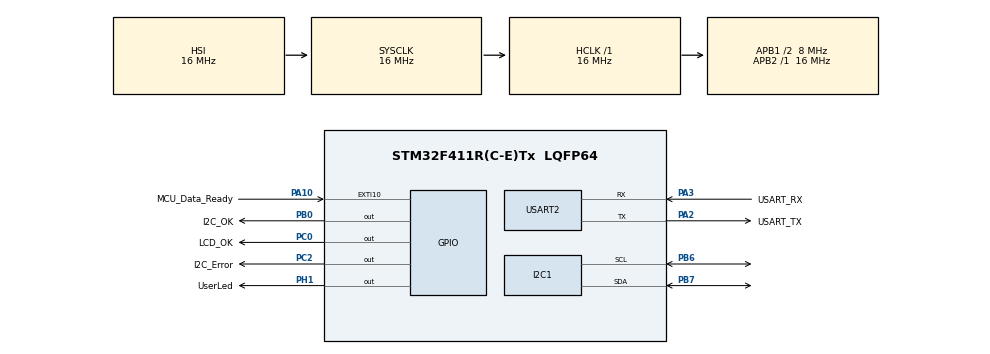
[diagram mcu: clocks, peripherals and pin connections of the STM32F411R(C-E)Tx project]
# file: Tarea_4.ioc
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Dma.Request0=USART2_RX
Dma.Request1=USART2_TX
Dma.USART2_RX.0.Direction=DMA_PERIPH_TO_MEMORY
Dma.USART2_RX.0.FIFOMode=DMA_FIFOMODE_DISABLE
Dma.USART2_RX.0.Instance=DMA1_Stream5
Dma.USART2_RX.0.MemDataAlignment=DMA_MDATAALIGN_BYTE
Dma.USART2_RX.0.MemInc=DMA_MINC_ENABLE
Dma.USART2_RX.0.Mode=DMA_NORMAL
Dma.USART2_RX.0.PeriphDataAlignment=DMA_PDATAALIGN_BYTE
Dma.USART2_RX.0.PeriphInc=DMA_PINC_DISABLE
Dma.USART2_RX.0.Priority=DMA_PRIORITY_LOW
Dma.USART2_TX.1.Direction=DMA_MEMORY_TO_PERIPH
Dma.USART2_TX.1.FIFOMode=DMA_FIFOMODE_DISABLE
Dma.USART2_TX.1.Instance=DMA1_Stream6
Dma.USART2_TX.1.MemDataAlignment=DMA_MDATAALIGN_BYTE
Dma.USART2_TX.1.MemInc=DMA_MINC_ENABLE
Dma.USART2_TX.1.Mode=DMA_NORMAL
Dma.USART2_TX.1.PeriphDataAlignment=DMA_PDATAALIGN_BYTE
Dma.USART2_TX.1.PeriphInc=DMA_PINC_DISABLE
Dma.USART2_TX.1.Priority=DMA_PRIORITY_LOW
Mcu.Family=STM32F4
Mcu.Name=STM32F411R(C-E)Tx
Mcu.Package=LQFP64
NVIC.DMA1_Stream5_IRQn=true\:0\:0\:false\:false\:true\:false\:true\:true
NVIC.DMA1_Stream6_IRQn=true\:0\:0\:false\:false\:true\:false\:true\:true
NVIC.EXTI15_10_IRQn=true\:0\:0\:false\:false\:true\:true\:true\:true
NVIC.PriorityGroup=NVIC_PRIORITYGROUP_0
NVIC.TIM2_IRQn=true\:0\:0\:false\:false\:true\:true\:true\:true
NVIC.TIM3_IRQn=true\:0\:0\:false\:false\:true\:true\:true\:true
NVIC.USART2_IRQn=true\:0\:0\:false\:false\:true\:true\:true\:true
PA10.GPIO_Label=MCU_Data_Ready
PA10.Signal=GPXTI10
PA13.GPIO_Label=TMS
PA13.Mode=Serial_Wire
PA13.Signal=SYS_JTMS-SWDIO
PA14.GPIO_Label=TCK
PA14.Mode=Serial_Wire
PA14.Signal=SYS_JTCK-SWCLK
PA2.GPIO_Label=USART_TX
PA2.Mode=Asynchronous
PA2.Signal=USART2_TX
PA3.GPIO_Label=USART_RX
PA3.Mode=Asynchronous
PA3.Signal=USART2_RX
PB0.GPIO_Label=I2C_OK
PB0.Signal=GPIO_Output
PB3.GPIO_Label=SWO
PB3.Signal=SYS_JTDO-SWO
PB6.Mode=I2C
PB6.Signal=I2C1_SCL
PB7.Mode=I2C
PB7.Signal=I2C1_SDA
PC0.GPIO_Label=LCD_OK
PC0.Signal=GPIO_Output
PC2.GPIO_Label=I2C_Error
PC2.Signal=GPIO_Output
PH1\ -\ OSC_OUT.GPIO_Label=UserLed
PH1\ -\ OSC_OUT.Signal=GPIO_Output
ProjectManager.HeapSize=0x200
ProjectManager.StackSize=0x400
ProjectManager.TargetToolchain=STM32CubeIDE
RCC.48MHZClocksFreq_Value=84000000
RCC.AHBFreq_Value=16000000
RCC.APB1CLKDivider=RCC_HCLK_DIV2
RCC.APB1Freq_Value=8000000
RCC.APB1TimFreq_Value=16000000
RCC.APB2Freq_Value=16000000
RCC.APB2TimFreq_Value=16000000
RCC.CortexFreq_Value=16000000
RCC.FLatency-AdvancedSettings=FLASH_LATENCY_0
RCC.HCLKFreq_Value=16000000
RCC.HSE_VALUE=8000000
RCC.HSI_VALUE=16000000
RCC.LSE_VALUE=32768
RCC.PLLN=336
RCC.PLLP=RCC_PLLP_DIV4
RCC.SYSCLKFreq_VALUE=16000000
RCC.VCOOutputFreq_Value=336000000
TIM2.Period=250-1
TIM2.Prescaler=16000-1
TIM3.Period=1000-1
TIM3.Prescaler=16000-1
USART2.VirtualMode=VM_ASYNC
VP_TIM2_VS_ClockSourceINT.Mode=Internal
VP_TIM3_VS_ClockSourceINT.Mode=Internal
board=NUCLEO-F411RE

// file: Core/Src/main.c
/* USER CODE BEGIN Header */
/**
  ******************************************************************************
  * @file           : main.c
  * @brief          : Main Tarea_4 Taller V, 2025-1
  * @author		 	: Jose Andrés Díaz Gutiérrez
  ******************************************************************************
  * @attention
  *
  * Copyright (c) 2025 STMicroelectronics.
  * All rights reserved.
  *
  *
  ******************************************************************************
  */
/* USER CODE END Header */
#include "main.h"

/* USER CODE BEGIN Includes */
#include "stdint.h"
#include "string.h"
#include "stdio.h"
#include <stdlib.h>
#define ARM_MATH_CM4	//Definimos esto porque estamos usando el núcleo ARM-Cortex M4
#include "arm_math.h"
#include "stm32f4xx_hal.h"
#include "arm_const_structs.h"
#include "arm_common_tables.h"
#include "i2c-lcd.h"
/* USER CODE END Includes */

I2C_HandleTypeDef hi2c1;

TIM_HandleTypeDef htim2;
TIM_HandleTypeDef htim3;

UART_HandleTypeDef huart2;
DMA_HandleTypeDef hdma_usart2_rx;
DMA_HandleTypeDef hdma_usart2_tx;

/* USER CODE BEGIN PV */
State_t Current_State = STATE_IDLE; 	// Se fija el estado por defecto

//Variables auxiliares para la comunciación USART
uint16_t rx_buffer_length = 64;
uint8_t rx_Buffer_A[RX_BUFFER_MAX_LENGTH]; // Buffer de recepción A
uint8_t rx_Buffer_B[RX_BUFFER_MAX_LENGTH]; // Buffer de recepción B
char 	tx_buffer[100];

volatile Paquete_Datos paquete_listo = {.buffer = NULL, .size = 0};
volatile BufferActivo buffer_activo_DMA = BUFFER_A;
uint8_t*  rx_buffer;
uint16_t  rx_size;

//Variables y Buffers para la FFT
float32_t 	Buffer_Datos_Float 		[ADC_BUFFER_MAX_LENGTH]; // Array para almacenar los valores del ADC hechos float
uint16_t index_Datos = 0;
float32_t FFT_Buffer			[ADC_BUFFER_MAX_LENGTH]; 	//Buffer para el output de la FFT
float32_t FFT_Magnitudes 		[ADC_BUFFER_MAX_LENGTH/2];	//Buffer para las magnitudes de la FFT
arm_rfft_fast_instance_f32 rfft_instance; 						//Se crea una instancia que es requerida por la función RFFT
uint16_t fft_Length = ADC_BUFFER_MAX_LENGTH;					//Tamaño de la FFT que se va a realizar, 2048 por defecto
uint16_t longitud_Buffer_Datos = ADC_BUFFER_MAX_LENGTH;
float32_t frecuencia_dominante = 0;
char *argumento_comandos;

//Variables para el acelerómetro
float32_t ACCEL_X, ACCEL_Y, ACCEL_Z; // Variables para almacenar los valores del acelerómetro
float32_t GYRO_X, GYRO_Y, GYRO_Z; // Variables para almacenar los valores del giroscopio
int16_t ACCEL_X_RAW, ACCEL_Y_RAW, ACCEL_Z_RAW; // Variables para almacenar los valores del acelerómetro _RAW
int16_t GYRO_X_RAW, GYRO_Y_RAW, GYRO_Z_RAW; // Variables para almacenar los valores del giroscopio _RAW
uint16_t refresh_lcd = 0;	//Variable auxiliar para refrescar la pantalla del LCD
uint16_t refresh_fft = 0;

//Le asignamos a una variable el mensaje de help, tipo static porque pues, no lo vamos a modificar nunca
static const char help_msg[] =
    "Opciones:\r\n"
    "1.  Configurar periodo del Blinky:              Config_Blinky_Period <Period (ms)>\r\n"
    "2.  Configurar tamaño de la FFT:                Config_FFT_Size\r\n"
    "3.  Imprimir espectro FFT:                      Print_FFT\r\n"
    "4.  Imprimir configuración del equipo:          Print_Config\r\n"
    "5. Imprimir valores clave de la FFT:           Print_FFT_Features\r\n";

/* USER CODE END PV */

void SystemClock_Config(void);
static void MX_GPIO_Init(void);
static void MX_DMA_Init(void);
static void MX_USART2_UART_Init(void);
static void MX_I2C1_Init(void);
static void MX_TIM2_Init(void);
static void MX_TIM3_Init(void);
/* USER CODE BEGIN PFP */
void printhelp(void);
void FSM_update(State_t State);
void MPU6050_Init(void);
/* USER CODE END PFP */

int main(void)
{

  /* MCU Configuration--------------------------------------------------------*/

  /* Reset of all peripherals, Initializes the Flash interface and the Systick. */
  HAL_Init();

  /* Configure the system clock */
  SystemClock_Config();

  /* Initialize all configured peripherals */
  MX_GPIO_Init();
  MX_DMA_Init();
  MX_USART2_UART_Init();
  MX_I2C1_Init();
  MX_TIM2_Init();
  MX_TIM3_Init();
  /* USER CODE BEGIN 2 */
  HAL_TIM_Base_Start_IT(&htim2); 	// Inicia el Timer 2 para interrupciones

  HAL_UARTEx_ReceiveToIdle_DMA(&huart2, rx_Buffer_A, rx_buffer_length); // Configura la recepción DMA con IDLE

  printhelp();	//Imprimimos la ayuda

  arm_rfft_fast_init_f32(&rfft_instance, fft_Length);	//Iniciamos la instancia al incio para no llamarla cada printFFT, Lo haremos con 2048 por defecto

  MPU6050_Init(); //Inicializamos el MPU6050

  lcd_init(); // Se inicializa la pantalla
  lcd_send_string ("Inicializando"); //Mandamos un mensaje a la pantalla

  HAL_Delay(1000);	//Esperamos 1 segundo
  lcd_clear();		//Limpiamos lo que haya en la pantalla

  lcd_send_cmd(0x80|0x5A);
  lcd_send_string("MPU6050");

  HAL_TIM_Base_Start_IT(&htim3); 	// Inicia el Timer 3 para interrupciones

  lcd_send_cmd(0x80 | (0x54 + 18));  // 0x80 | 0x66 = 0xE6
  lcd_send_string("Hz");
  /* USER CODE END 2 */

  /* Infinite loop */
  while (1){

    /* USER CODE BEGIN 3 */
	  FSM_update(Current_State); // Llama a la función de actualización del FSM

  }
  /* USER CODE END 3 */
}

void SystemClock_Config(void)
{
  RCC_OscInitTypeDef RCC_OscInitStruct = {0};
  RCC_ClkInitTypeDef RCC_ClkInitStruct = {0};

  /** Configure the main internal regulator output voltage
  */
  __HAL_RCC_PWR_CLK_ENABLE();
  __HAL_PWR_VOLTAGESCALING_CONFIG(PWR_REGULATOR_VOLTAGE_SCALE1);

  /** Initializes the RCC Oscillators according to the specified parameters
  * in the RCC_OscInitTypeDef structure.
  */
  RCC_OscInitStruct.OscillatorType = RCC_OSCILLATORTYPE_HSI;
  RCC_OscInitStruct.HSIState = RCC_HSI_ON;
  RCC_OscInitStruct.HSICalibrationValue = RCC_HSICALIBRATION_DEFAULT;
  RCC_OscInitStruct.PLL.PLLState = RCC_PLL_NONE;
  if (HAL_RCC_OscConfig(&RCC_OscInitStruct) != HAL_OK)
  {
    Error_Handler();
  }

  /** Initializes the CPU, AHB and APB buses clocks
  */
  RCC_ClkInitStruct.ClockType = RCC_CLOCKTYPE_HCLK|RCC_CLOCKTYPE_SYSCLK
                              |RCC_CLOCKTYPE_PCLK1|RCC_CLOCKTYPE_PCLK2;
  RCC_ClkInitStruct.SYSCLKSource = RCC_SYSCLKSOURCE_HSI;
  RCC_ClkInitStruct.AHBCLKDivider = RCC_SYSCLK_DIV1;
  RCC_ClkInitStruct.APB1CLKDivider = RCC_HCLK_DIV2;
  RCC_ClkInitStruct.APB2CLKDivider = RCC_HCLK_DIV1;

  if (HAL_RCC_ClockConfig(&RCC_ClkInitStruct, FLASH_LATENCY_0) != HAL_OK)
  {
    Error_Handler();
  }
}

static void MX_I2C1_Init(void)
{

  hi2c1.Instance = I2C1;
  hi2c1.Init.ClockSpeed = 100000;
  hi2c1.Init.DutyCycle = I2C_DUTYCYCLE_2;
  hi2c1.Init.OwnAddress1 = 0;
  hi2c1.Init.AddressingMode = I2C_ADDRESSINGMODE_7BIT;
  hi2c1.Init.DualAddressMode = I2C_DUALADDRESS_DISABLE;
  hi2c1.Init.OwnAddress2 = 0;
  hi2c1.Init.GeneralCallMode = I2C_GENERALCALL_DISABLE;
  hi2c1.Init.NoStretchMode = I2C_NOSTRETCH_DISABLE;
  if (HAL_I2C_Init(&hi2c1) != HAL_OK)
  {
    Error_Handler();
  }

}

static void MX_TIM2_Init(void)
{

  TIM_ClockConfigTypeDef sClockSourceConfig = {0};
  TIM_MasterConfigTypeDef sMasterConfig = {0};

  htim2.Instance = TIM2;
  htim2.Init.Prescaler = 16000-1;
  htim2.Init.CounterMode = TIM_COUNTERMODE_UP;
  htim2.Init.Period = 250-1;
  htim2.Init.ClockDivision = TIM_CLOCKDIVISION_DIV1;
  htim2.Init.AutoReloadPreload = TIM_AUTORELOAD_PRELOAD_DISABLE;
  if (HAL_TIM_Base_Init(&htim2) != HAL_OK)
  {
    Error_Handler();
  }
  sClockSourceConfig.ClockSource = TIM_CLOCKSOURCE_INTERNAL;
  if (HAL_TIM_ConfigClockSource(&htim2, &sClockSourceConfig) != HAL_OK)
  {
    Error_Handler();
  }
  sMasterConfig.MasterOutputTrigger = TIM_TRGO_RESET;
  sMasterConfig.MasterSlaveMode = TIM_MASTERSLAVEMODE_DISABLE;
  if (HAL_TIMEx_MasterConfigSynchronization(&htim2, &sMasterConfig) != HAL_OK)
  {
    Error_Handler();
  }

}

static void MX_TIM3_Init(void)
{

  TIM_ClockConfigTypeDef sClockSourceConfig = {0};
  TIM_MasterConfigTypeDef sMasterConfig = {0};

  htim3.Instance = TIM3;
  htim3.Init.Prescaler = 16000-1;
  htim3.Init.CounterMode = TIM_COUNTERMODE_UP;
  htim3.Init.Period = 1000-1;
  htim3.Init.ClockDivision = TIM_CLOCKDIVISION_DIV1;
  htim3.Init.AutoReloadPreload = TIM_AUTORELOAD_PRELOAD_DISABLE;
  if (HAL_TIM_Base_Init(&htim3) != HAL_OK)
  {
    Error_Handler();
  }
  sClockSourceConfig.ClockSource = TIM_CLOCKSOURCE_INTERNAL;
  if (HAL_TIM_ConfigClockSource(&htim3, &sClockSourceConfig) != HAL_OK)
  {
    Error_Handler();
  }
  sMasterConfig.MasterOutputTrigger = TIM_TRGO_RESET;
  sMasterConfig.MasterSlaveMode = TIM_MASTERSLAVEMODE_DISABLE;
  if (HAL_TIMEx_MasterConfigSynchronization(&htim3, &sMasterConfig) != HAL_OK)
  {
    Error_Handler();
  }

}

static void MX_USART2_UART_Init(void)
{

  huart2.Instance = USART2;
  huart2.Init.BaudRate = 115200;
  huart2.Init.WordLength = UART_WORDLENGTH_8B;
  huart2.Init.StopBits = UART_STOPBITS_1;
  huart2.Init.Parity = UART_PARITY_NONE;
  huart2.Init.Mode = UART_MODE_TX_RX;
  huart2.Init.HwFlowCtl = UART_HWCONTROL_NONE;
  huart2.Init.OverSampling = UART_OVERSAMPLING_16;
  if (HAL_UART_Init(&huart2) != HAL_OK)
  {
    Error_Handler();
  }

}

static void MX_DMA_Init(void)
{

  /* DMA controller clock enable */
  __HAL_RCC_DMA1_CLK_ENABLE();

  /* DMA interrupt init */
  /* DMA1_Stream5_IRQn interrupt configuration */
  HAL_NVIC_SetPriority(DMA1_Stream5_IRQn, 0, 0);
  HAL_NVIC_EnableIRQ(DMA1_Stream5_IRQn);
  /* DMA1_Stream6_IRQn interrupt configuration */
  HAL_NVIC_SetPriority(DMA1_Stream6_IRQn, 0, 0);
  HAL_NVIC_EnableIRQ(DMA1_Stream6_IRQn);

}

static void MX_GPIO_Init(void)
{
  GPIO_InitTypeDef GPIO_InitStruct = {0};

  /* GPIO Ports Clock Enable */
  __HAL_RCC_GPIOH_CLK_ENABLE();
  __HAL_RCC_GPIOC_CLK_ENABLE();
  __HAL_RCC_GPIOA_CLK_ENABLE();
  __HAL_RCC_GPIOB_CLK_ENABLE();

  /*Configure GPIO pin Output Level */
  HAL_GPIO_WritePin(UserLed_GPIO_Port, UserLed_Pin, GPIO_PIN_RESET);

  /*Configure GPIO pin Output Level */
  HAL_GPIO_WritePin(GPIOC, LCD_OK_Pin|I2C_Error_Pin, GPIO_PIN_RESET);

  /*Configure GPIO pin Output Level */
  HAL_GPIO_WritePin(I2C_OK_GPIO_Port, I2C_OK_Pin, GPIO_PIN_RESET);

  /*Configure GPIO pin : UserLed_Pin */
  GPIO_InitStruct.Pin = UserLed_Pin;
  GPIO_InitStruct.Mode = GPIO_MODE_OUTPUT_PP;
  GPIO_InitStruct.Pull = GPIO_NOPULL;
  GPIO_InitStruct.Speed = GPIO_SPEED_FREQ_LOW;
  HAL_GPIO_Init(UserLed_GPIO_Port, &GPIO_InitStruct);

  /*Configure GPIO pins : LCD_OK_Pin I2C_Error_Pin */
  GPIO_InitStruct.Pin = LCD_OK_Pin|I2C_Error_Pin;
  GPIO_InitStruct.Mode = GPIO_MODE_OUTPUT_PP;
  GPIO_InitStruct.Pull = GPIO_NOPULL;
  GPIO_InitStruct.Speed = GPIO_SPEED_FREQ_LOW;
  HAL_GPIO_Init(GPIOC, &GPIO_InitStruct);

  /*Configure GPIO pin : I2C_OK_Pin */
  GPIO_InitStruct.Pin = I2C_OK_Pin;
  GPIO_InitStruct.Mode = GPIO_MODE_OUTPUT_PP;
  GPIO_InitStruct.Pull = GPIO_NOPULL;
  GPIO_InitStruct.Speed = GPIO_SPEED_FREQ_LOW;
  HAL_GPIO_Init(I2C_OK_GPIO_Port, &GPIO_InitStruct);

  /*Configure GPIO pin : MCU_Data_Ready_Pin */
  GPIO_InitStruct.Pin = MCU_Data_Ready_Pin;
  GPIO_InitStruct.Mode = GPIO_MODE_IT_RISING;
  GPIO_InitStruct.Pull = GPIO_NOPULL;
  HAL_GPIO_Init(MCU_Data_Ready_GPIO_Port, &GPIO_InitStruct);

  /* EXTI interrupt init*/
  HAL_NVIC_SetPriority(EXTI15_10_IRQn, 0, 0);
  HAL_NVIC_EnableIRQ(EXTI15_10_IRQn);

  /* USER CODE BEGIN MX_GPIO_Init_2 */
  // Para EXTI0 (PC0)
  HAL_NVIC_SetPriority(EXTI0_IRQn, 0, 0);
  HAL_NVIC_EnableIRQ(EXTI0_IRQn);

  // Para EXTI1 (PC1)
  HAL_NVIC_SetPriority(EXTI1_IRQn, 0, 0);
  HAL_NVIC_EnableIRQ(EXTI1_IRQn);

  // Para EXTI4 (PA4)
  HAL_NVIC_SetPriority(EXTI4_IRQn, 0, 0);
  HAL_NVIC_EnableIRQ(EXTI4_IRQn);

  // Para EXTI15_10 (PB15)
  HAL_NVIC_SetPriority(EXTI15_10_IRQn, 0, 0);
  HAL_NVIC_EnableIRQ(EXTI15_10_IRQn);
  /* USER CODE END MX_GPIO_Init_2 */
}

/* USER CODE BEGIN 4 */
void  I2C_verify(void){
	uint8_t check;
	HAL_I2C_Mem_Read(&hi2c1, MPU6050_ADDR, MCU_WHO_AM_I_REG, 1, &check, 1, 1000);
	if ((HAL_I2C_IsDeviceReady(&hi2c1, LCD_ADDR, 3, 1000) == HAL_OK) && (check == 0x68)) {
	    //La pantalla y el MPU están respondiendo
		HAL_GPIO_WritePin(I2C_OK_GPIO_Port, I2C_OK_Pin, GPIO_PIN_SET);
		HAL_GPIO_WritePin(LCD_OK_GPIO_Port, LCD_OK_Pin, GPIO_PIN_SET);
	} else {
		HAL_GPIO_WritePin(I2C_OK_GPIO_Port, I2C_OK_Pin, GPIO_PIN_RESET);
		HAL_GPIO_WritePin(LCD_OK_GPIO_Port, LCD_OK_Pin, GPIO_PIN_RESET);
		HAL_GPIO_WritePin(I2C_Error_GPIO_Port, I2C_Error_Pin, GPIO_PIN_SET);

	}
}

void MPU6050_Init(void){
	uint8_t check, data; //Variables auxiliares para la comunicación I2C
	//Primero verificamos que el MPU6050 esté conectado, leyendo el registro WHO_AM_I (0x75), el sensor debería retornar 0x68, su ADDRESS con AD0 = 0
	HAL_I2C_Mem_Read(&hi2c1, MPU6050_ADDR, MCU_WHO_AM_I_REG, 1, &check, 1, 1000);

	if(check != 0x68){
		//El sensor no está conectado correctamente
		const char *msg = "MPU6050 desconectado. Conéctelo correctamente y escriba: Start_DMU.\n";
		HAL_UART_Transmit_DMA(&huart2, (uint8_t *)msg, strlen(msg));
		HAL_GPIO_WritePin(I2C_Error_GPIO_Port, I2C_Error_Pin, GPIO_PIN_SET);
		return; //No se puede continuar
	}
	HAL_GPIO_WritePin(I2C_OK_GPIO_Port, I2C_OK_Pin, GPIO_PIN_SET);
	//Si está conectado, procedemos a configurarlo, escribiendno en el registro PWR_MGMT_1 (0x6B) un 0x00, para que el sensor esté activo
	/*	Bit 7: Device_Reset 	= 0, No queremos reiniciar el dispositivo
	 *  Bit 6: Sleep 			= 0, No queremos que el dispositivo esté en modo de sueño
	 *  Bit 5: Cycle 			= 0, No queremos que el dispositivo esté en modo de ciclo
	 *  Bit 4: Reserved 		= 0, Reservado
	 *  Bit 3: Temp_Disable 	= 1, No necesitamos que el sensor mida la temperatura
	 *  Bit 2-0: Clock_Select 	= 000, Seleccionamos el reloj interno del sensor
	 *  Escribimos entonces  0b00001000 = 0x08
	 */
	data = 0x08; //Valor a escribir en el registro PWR_MGMT_1
	HAL_I2C_Mem_Write(&hi2c1, MPU6050_ADDR, PWR_MGMT_1_REG, 1, &data, 1, 1000);
	/*
	 * Ahora debemos configurar el sample rate del sensor, fijándonos en el registro SMPLRT_DIV 0x19 y en el Configuration 0x1A
	 * Por defecto, configuration = 0x00, lo que significa que el sensor tiene un gyroscope output rate de 8kHz
	 * Luego, en en SMPLRT_Div, escribimos un valor de 0x07, para configurar el sample rate a 1kHz
	 * Sample Rate = Gyroscope Output Rate / (1 + SMPLRT_DIV)
	 */
	data = 0x08; //Valor para escribir en SMPLRT_DIV
	HAL_I2C_Mem_Write(&hi2c1, MPU6050_ADDR, SMPLRT_DIV_REG, 1, &data, 1, 1000);
	/*
	 * Procedemos a configurar la escala del giroscopio y acelerómetro a un rango de 2000°/s 0x18
	 * Y un rango en la aceleración de +- 2g: 0x18
	 * Omitimos los self tests, pues no los vamos a usar
	 */
	data = 0x00; //Valor para escribir en el registro GYRO_CONFIG (0x1B) y ACCEL_CONFIG_REG (0x1C)
	HAL_I2C_Mem_Write(&hi2c1, MPU6050_ADDR, GYRO_CONFIG_REG, 1, &data, 1, 1000);
	HAL_I2C_Mem_Write(&hi2c1, MPU6050_ADDR, ACCEL_CONFIG_REG, 1, &data, 1, 1000);

	data = 0x01; //Valor a escribir en el INT_ENABLE para activar una interrupción en el MPU cada que hayan datos listos para leer
	HAL_I2C_Mem_Write(&hi2c1, MPU6050_ADDR, MCU_INT_ENABLE, 1, &data, 1, 1000);

}

void MPU6050_Read_Accel(void){
	/*
	 * La configuración que tenemos es de +- 16g
	 * Por lo tanto, LSB sensitivity es de 2048 LSB/g
	 */
	uint8_t data_Recolectada[6];

	// Leemos los 6 bytes de data empezando desde el registro ACCEL_XOUT_H (0x3B)

	HAL_I2C_Mem_Read(&hi2c1, MPU6050_ADDR, ACCEL_XOUT_H_REG, 1, data_Recolectada, 6, 1000);

	ACCEL_X_RAW = (int16_t)(data_Recolectada[0] << 8 | data_Recolectada[1]); // Combinamos los dos bytes de datos para el eje X
	ACCEL_Y_RAW = (int16_t)(data_Recolectada[2] << 8 | data_Recolectada[3]); // Combinamos los dos bytes de datos para el eje Y
	ACCEL_Z_RAW = (int16_t)(data_Recolectada[4] << 8 | data_Recolectada[5]); // Combinamos los dos bytes de datos para el eje Z

	ACCEL_X = (float )ACCEL_X_RAW / 16384; // Convertimos a g
	ACCEL_Y = (float )ACCEL_Y_RAW / 16384; // Convertimos a g
	ACCEL_Z = (float )ACCEL_Z_RAW / 16384; // Convertimos a g
}

void MPU6050_Read_Gyro(void){
	/*
	 * La configuración que tenemos es de 2000°/s
	 * Por lo tanto, LSB sensitivity es de 16.4 LSB/s
	 */
	uint8_t data_Recolectada[6];

	// Leemos los 6 bytes de data empezando desde el registro GYRO_XOUT_H (0x43)

	HAL_I2C_Mem_Read(&hi2c1, MPU6050_ADDR, GYRO_XOUT_H_REG, 1, data_Recolectada, 6, 1000);

	GYRO_X_RAW = (int16_t)(data_Recolectada[0] << 8 | data_Recolectada[1]); // Combinamos los dos bytes de datos para el eje X
	GYRO_Y_RAW = (int16_t)(data_Recolectada[2] << 8 | data_Recolectada[3]); // Combinamos los dos bytes de datos para el eje Y
	GYRO_Z_RAW = (int16_t)(data_Recolectada[4] << 8 | data_Recolectada[5]); // Combinamos los dos bytes de datos para el eje Z

	GYRO_X = (float )GYRO_X_RAW / 131; // Convertimos a °/s
	GYRO_Y = (float )GYRO_Y_RAW / 131; // Convertimos a °/s
	GYRO_Z = (float )GYRO_Z_RAW / 131; // Convertimos a °/s
}

void printhelp(void){
	//Esta función imprime el menú de opciones en el terminal
	HAL_UART_Transmit_DMA(&huart2, (uint8_t *)help_msg,strlen(help_msg));
	Current_State = STATE_IDLE; //Se vuelve al estado de REFRESCO
}

void config_blinky(const char *argumento){
	//Esta función configura el periodo del blinky
	uint32_t nuevo_periodo = atoi(argumento);			//Convierte el argumento a un entero
	if(nuevo_periodo > 0 && nuevo_periodo <= 65536){ 	//Verifica que el periodo esté en el rango permitido
		HAL_TIM_Base_Stop_IT(&htim2); 						//Detiene el timer para poder configurarlo
		htim2.Init.Period = nuevo_periodo - 1; 			//Actualiza el periodo del timer
		HAL_TIM_Base_Init(&htim2); 						//Se carga la configuración del timer con el nuevo periodo
		HAL_TIM_Base_Start_IT(&htim2); 					//Inicia el timer con interrupciones
		const char *msg = "Periodo del blinky configurado correctamente.\n";
		HAL_UART_Transmit_DMA(&huart2, (uint8_t *)msg, strlen(msg));
	}else{
		const char *error_msg = "Periodo inválido. Debe estar entre 1 y 65536 ms.\n";
		HAL_UART_Transmit_DMA(&huart2, (uint8_t *)error_msg, strlen(error_msg));
	}
	Current_State = STATE_IDLE; //Se vuelve al estado de REFRESCO
}

void print_config(void){
	/*
	 * Esta función imprime la configuración del equipo
	 */

	char config[512];
	sprintf(config,
	    "Tamano FFT:            %u   index\n"
	    "TIM2 Prescaler:        %u   \n"
	    "TIM2 Period:           %u   \n",
		(uint16_t) longitud_Buffer_Datos, // uint16_t
	    (uint16_t)TIM2->PSC,   // uint32_t
	    (uint16_t)TIM2->ARR   // uint32_t
	);
	HAL_UART_Transmit_DMA(&huart2, (uint8_t *)config,strlen(config));
	Current_State = STATE_IDLE;
}

void convertir_uint16_to_float32(uint16_t* pOrigen, float32_t* pDestino, uint32_t buffer_length){
	const float32_t conversion_factor = 1.0f / (float32_t)ADC_MAX_VALUE;

    for (uint32_t i = 0; i < buffer_length; i++) {
        // Normalizamos a los valores [0.0, 1.0] y convertimos a float cada uno de los valores
    	pDestino[i] = ((float32_t)pOrigen[i]) * conversion_factor;
    }
}

uint8_t uint16_es_potencia_de_2(uint16_t numero){
	//Si es potencia de 2, entonces solo debe haber un bit encendido en el número
	if((numero & (numero-1)) == 0){
		//Se trata de una potencia de 2
		return 0;
	}
	return 1;
}

void perform_fft(void) {
	//convertir_uint16_to_float32(Buffer_Datos, Buffer_Datos_Float, ADC_BUFFER_MAX_LENGTH);
    // --- Paso 1: Realizar la FFT ---
    // Se asume que el buffer del ADC está listo
    arm_rfft_fast_f32(
        &rfft_instance,       	// Puntero a la instancia que se inicializó
		Buffer_Datos_Float,     	// Puntero a los datos de valor real del ADC
		FFT_Buffer,    			// Puntero al buffer donde se guardan los datos de la FFT
        0                     	// '0' para FFT, '1' para FFT Inversa (IFFT)
    );

    // --- Paso 2: Calcular la magnitud ---
    // The RFFT output is in a packed complex format. This function "unpacks" it
    // and calculates the magnitude of each complex frequency bin.
    // Magnitude = sqrt(real^2 + imag^2)
    arm_cmplx_mag_f32(
    	FFT_Buffer,    			// Puntero con la información de la FFT
		FFT_Magnitudes,       	// PUntero destino a donde se guardan las magnitudes de la FFT
        fft_Length / 2          	// Solo se computan las primeras N/2 magnitudes, los datos relevantes
    );

    // --- Done! ---
    // The 'fft_magnitudes' array now holds the spectrum of your signal.
    // fft_magnitudes[0] = Magnitude of the DC component (0 Hz)
    // fft_magnitudes[1] = Magnitude of the first frequency bin
    // ...
    // fft_magnitudes[511] = Magnitude of the last useful frequency bin
}

void get_FrencuenciaDominante(void){
	perform_fft();	//Realizamos una transformada de Fourier
	float32_t magnitud_predominante;
	uint32_t  magnitud_predominante_index;
	float32_t tasa_muestreo = 700;

	// --- Paso 1: Hallar el componente con el valor más alto ---
	// Se busca desde el índice 1 porque el 0 es la componente DC).
	arm_max_f32(
			&FFT_Magnitudes[1],     		// Iniciamos desde el elemento 1
			(fft_Length / 2) - 1,     		// Número de los elementos que se van a buscar, se asume que son la mitad
			&magnitud_predominante,         // Esta variable contiene la magnitud más grande encontrada
			&magnitud_predominante_index    // Y esta el índice respectivo
	);

	// Ajuste del índice, pues este debe ser absoluto
	magnitud_predominante_index = magnitud_predominante_index + 1;

	// Paso 2: Convertir el índice a un valor de frecuencia real
	float32_t frequency_resolution = tasa_muestreo / (fft_Length);
	float32_t dominant_frequency = magnitud_predominante_index * frequency_resolution;

	frecuencia_dominante = dominant_frequency;
}

void print_fft_features(void){
	/*
	 * Esta función imprime los valores importantes de la FFT
	 */
	perform_fft();	//Realizamos una transformada de Fourier
	float32_t magnitud_predominante;
	uint32_t  magnitud_predominante_index;
	HAL_StatusTypeDef status;
	float tasa_muestreo = 44100;

	// --- Paso 1: Hallar el componente con el valor más alto ---
	// Se busca desde el índice 1 porque el 0 es la componente DC).
	arm_max_f32(
			&FFT_Magnitudes[1],     		// Iniciamos desde el elemento 1
			(fft_Length / 2) - 1,     		// Número de los elementos que se van a buscar, se asume que son la mitad
			&magnitud_predominante,         // Esta variable contiene la magnitud más grande encontrada
			&magnitud_predominante_index    // Y esta el índice respectivo
	);

	// Ajuste del índice, pues este debe ser absoluto
	magnitud_predominante_index = magnitud_predominante_index + 1;

	// Paso 2: Convertir el índice a un valor de frecuencia real
	float32_t frequency_resolution = tasa_muestreo / (fft_Length);
	float32_t dominant_frequency = magnitud_predominante_index * frequency_resolution;

	// --- Step 3: Formatear aduacadamente la salida ---
	// Formatear la frecuencia en String
	char tx_buffer[80];
	sprintf(tx_buffer, "Frecuencia Dominante:     %.2f Hz\r\n", dominant_frequency);

	// --- Paso 4: Transmitir la frecuencia ya formateada  ---
	status = HAL_UART_Transmit(
			&huart2,                     // Pointer to the UART handle
			(uint8_t*)tx_buffer,         // Pointer to the data buffer (must be cast to uint8_t*)
			strlen(tx_buffer),           // Number of bytes to send
			100
	);

	// Format the magnitude string
	sprintf(tx_buffer, "Magnitud Freq Dominante:  %.2f\r\n", magnitud_predominante);
	sprintf(tx_buffer, "Bin Freq Dominante:       %lu\r\n", magnitud_predominante_index);
	// Transmit the second string
	status = HAL_UART_Transmit(&huart2, (uint8_t*)tx_buffer, strlen(tx_buffer),100);

	// --- Paso 5: Hallemos el componente DC de la señal, para esto, se debe aplicar el factor de
	// Escala adecuado, pues F(x) = 1/N SUM(n=0, n=N-1, x[n]), por lo tanto, este factor
	// Es simplemente el número de muestras 1/N
	float componente_DC = 3.3f * FFT_Magnitudes[0] / fft_Length;
	// Lo formateamos:
	sprintf(tx_buffer, "Componente DC:            %.2f V\r\n", componente_DC);
	//Transmitimos
	status = HAL_UART_Transmit(&huart2, (uint8_t*)tx_buffer, strlen(tx_buffer),100);

	float valor_RMS = 0;
	// Hallamos el valor RMS de la señal
	//convertir_uint16_to_float32(Buffer_Datos, Buffer_Datos_Float, ADC_BUFFER_MAX_LENGTH);
	arm_rms_f32(Buffer_Datos_Float, ADC_BUFFER_MAX_LENGTH, &valor_RMS);	//El tercer argumento debe ser un puntero que apunta a una variable tipo float, se obtiene el valor RMS de la señal
	valor_RMS = valor_RMS * 3.3;	//Originilamente el ADC_Float_Buffer está normalizado entre 0 y 1, lo multiplicamos por 3.3V para hallar la potencia adecuadamente
	float potencia_promedio = valor_RMS * valor_RMS;	//La potencia de la señal es su valor RMS al cuadrado
	// Lo formateamos:
	sprintf(tx_buffer, "Potencia Promedio:        %.2f W\r\n", potencia_promedio);
	//Transmitimos
	status = HAL_UART_Transmit(&huart2, (uint8_t*)tx_buffer, strlen(tx_buffer),100);

	if (status != HAL_OK) {
		// Transmission error
	}

	Current_State = STATE_IDLE;
}

void cfg_size_fft(const char *argumento){
	/*
	 * Esta función configura el tamaño de la FFT
	 */
	uint16_t aux_verificacion = 0;
	uint16_t fft_new_Length = atoi(argumento);
	aux_verificacion = uint16_es_potencia_de_2(fft_new_Length);
	if(aux_verificacion || (fft_new_Length < 16) || (fft_new_Length > ADC_BUFFER_MAX_LENGTH)){
		//No pasa la verificación, no se modifica nada
		const char *errorMsg = "Valor no adecuado para la FFT, deben ser potencias de 2 desde 16 hasta 2048\n";
		HAL_UART_Transmit_DMA(&huart2, (uint8_t *) errorMsg, strlen(errorMsg));
		Current_State = STATE_IDLE;
		return;
	}
	//En caso contrario, procedemos a modificar el valor de la FFT
	fft_Length = fft_new_Length;	//Asignamos el nuevor valor a la FFT
	longitud_Buffer_Datos = fft_Length;
	arm_rfft_fast_init_f32(&rfft_instance, fft_Length);
	const char *doneMsg = "Tamaño de FFT actualizado correctamente\n";
	HAL_UART_Transmit_DMA(&huart2, (uint8_t *) doneMsg, strlen(doneMsg));
	Current_State = STATE_IDLE;
}

void print_fft(void){
	/*
	 * Esta función imprime el espectro de la FFT
	 */
	//Primero transformamos los datos a float del buffer ADC
	perform_fft();

	char aux_buffer [8192];	//Buffer temporal
	uint16_t offset = 0;	//Variable para saber en qué parte del buffer poner los datos

	for(uint16_t i = 0; i < (fft_Length / 2) ; i++){
		int aux = sprintf(&aux_buffer[offset], "%.3f\r\n", FFT_Magnitudes[i]);
		offset+=aux;	//Aumentamos lo que escribimos
		//Marranada para que funcione mejor
		Current_State = STATE_IDLE;
		FSM_update(Current_State);
	}
	FSM_update(Current_State);	//Otra marranada
	HAL_UART_Transmit_DMA(&huart2, (uint8_t *)aux_buffer, offset );	//A enviar la data de la FFT
}

void unknown(void){
	const char *error_msg = "Comando no reconocido. Escriba 'help' para ver las opciones disponibles.\n";
	HAL_UART_Transmit_DMA(&huart2, (uint8_t *)error_msg, strlen(error_msg));
	Current_State = STATE_IDLE;
}

ID_Comando encontrar_id_comando(const char* str_comando){
    for (int i = 0; i < NUM_COMANDOS; i++) {
        if (strcmp(str_comando, comandos[i].command_str) == 0) {
            return comandos[i].id_comando;
        }
    }
    return CMD_ID_UNKNOWN;
}

void despachar_comando(char *line){
	/*
	 * Esta función despacha el comando recibido por el USART
	 * Se van a separar los comandos y argumentos
	 * de la línea recibida por el USART
	 */

	//Empezamos por eliminar los caracteres de nueva línea y retorno de carro \r
	for (int i = 0; i < rx_size; i++) {
	    if (line[i] == '\r' || line[i] == '\n') {
	    	line[i] = '\0';
	        break;
	    }
	}

	char *argumento = strchr(line, ' '); //Se separa el parámetro del resto de la línea
	 if (argumento) {
	        *argumento = '\0';  // separamos con null terminator
	        argumento++;        // ahora argumento apunta al primer argumento
	    } else {
	        argumento = "";     // sin argumentos
	    }

	 argumento_comandos = argumento;
	 ID_Comando id = encontrar_id_comando(line);
	 switch (id){
	 	 case CMD_ID_printhelp: 			Current_State = STATE_HELP; 						break;
	 	 case CMD_ID_config_blinky:			Current_State = STATE_CONFIG_BLINKY;				break;
	 	 case CMD_ID_cfg_size_fft:			Current_State = STATE_CONFIG_FFT_SIZE;				break;
	 	 case CMD_ID_print_fft:				Current_State = STATE_PRINT_FFT;					break;
	 	 case CMD_ID_print_config:			Current_State = STATE_PRINT_CONFIG;					break;
	 	 case CMD_ID_print_fft_features:	Current_State = STATE_PRINT_FFT_FEATURES;			break;
	 	 case CMD_ID_UNKNOWN:				unknown();											break;
	 }
}

void guardar_accel_z(float32_t accel_z_value) {
	Buffer_Datos_Float[index_Datos] = accel_z_value;
    index_Datos = (index_Datos + 1) % fft_Length;
}

void FSM_update(State_t State){
	switch (State){
		case STATE_IDLE:{
			break;
		}case STATE_READ_MCU_DATA:{
			MPU6050_Read_Accel(); //Leemos el acelerómetro
			//MPU6050_Read_Gyro(); //Leemos el giroscopio
			if(refresh_lcd >= 250){
				refresh_lcd = 0;
				Current_State = STATE_LCD_REFRESH;
			}
			guardar_accel_z(ACCEL_Z);

			I2C_verify();
			break;
		}case STATE_LCD_REFRESH:{
			if(refresh_fft >= fft_Length){
				get_FrencuenciaDominante();
				refresh_fft = 0;
			}
			char buffer_lcd[30];
			//Imprimimos los valores en la pantalla
			// print the Acceleration and Gyro values on the LCD 20x4
			lcd_send_cmd (0x80|0x00);  // goto 1,1
			sprintf (buffer_lcd, "Accel x=%.2fg ", ACCEL_X);
			lcd_send_string (buffer_lcd);

			lcd_send_cmd (0x80|0x40);  // goto 2,1
			sprintf (buffer_lcd, "Accel y=%.2fg ", ACCEL_Y);
			lcd_send_string (buffer_lcd);

			lcd_send_cmd (0x80|0x14);  // goto 3,1
			sprintf (buffer_lcd, "Accel z=%.2fg ", ACCEL_Z);
			lcd_send_string (buffer_lcd);

			lcd_send_cmd(0x80 | 0x54);  // Línea 4, columna 1
			sprintf(buffer_lcd, "Freq.Dom=%.2f", frecuencia_dominante);
			lcd_send_string(buffer_lcd);

			Current_State = STATE_IDLE;
			/* Aquí se pueden mostrar también los datos del giroscopio
			lcd_send_cmd (0x80|0x0A);  // goto 1,11
			sprintf (buffer_lcd, "Gx=%.2f", GYRO_X);
			lcd_send_string (buffer_lcd);

			lcd_send_cmd (0x80|0x4A);  // goto 2,11
			sprintf (buffer_lcd, "Gy=%.2f", GYRO_Y);
			lcd_send_string (buffer_lcd);

			lcd_send_cmd (0x80|0x1E);  // goto 3,11
			sprintf (buffer_lcd, "Gz=%.2f", GYRO_Z);
			lcd_send_string (buffer_lcd););
			*/
			break;
		}
		case STATE_TERMINAL :{
			  if (paquete_listo.size > 0){
				  // --- DATA IS READY FOR PROCESSING ---
				  // The DMA is now safely filling the *other* buffer.
				  // We can take as long as we need to process the data in
				  // data_ready_packet.buffer without risk of corruption.

				  // First, get a local copy of the pointer and size
				  rx_buffer = paquete_listo.buffer;
				  rx_size = paquete_listo.size;

				  // --- IMPORTANT: Clear the volatile struct to "consume" the data ---
				  // This signals we are done and can accept the next packet.
				  paquete_listo.buffer = NULL;
				  paquete_listo.size = 0;
			  }
			despachar_comando((char *) rx_buffer); //Se despacha el comando recibido por el terminal
			break;
		}case STATE_HELP :{
			printhelp(); //Imprime el menú de ayuda
			break;
		}case STATE_CONFIG_BLINKY: {
			config_blinky(argumento_comandos);
			break;
		}case STATE_CONFIG_FFT_SIZE: {
			cfg_size_fft(argumento_comandos);
			break;
		}case STATE_PRINT_FFT:{
			print_fft();
			break;
		}case STATE_PRINT_CONFIG: {
			print_config();
			break;
		}case STATE_PRINT_FFT_FEATURES:{
			print_fft_features();
			break;
		}
	}
}

void HAL_TIM_PeriodElapsedCallback(TIM_HandleTypeDef *htim){
	if(htim->Instance == TIM2){
		HAL_GPIO_TogglePin(UserLed_GPIO_Port, UserLed_Pin); // UserLed parpadea cada 250ms
	}
}

void HAL_GPIO_EXTI_Callback(uint16_t GPIO_Pin){
	if(GPIO_Pin == MCU_Data_Ready_Pin){
		refresh_lcd++;
		refresh_fft++;
		Current_State = STATE_READ_MCU_DATA;
	}
}

//Callback del USART Idle para no tener que saber el tamaño del mensaje
void HAL_UARTEx_RxEventCallback(UART_HandleTypeDef *huart, uint16_t Size){
	if (huart->Instance == USART2) {
		if (buffer_activo_DMA == BUFFER_A){
			// Señal de que el Buffer A está listo
			paquete_listo.buffer  = rx_Buffer_A;
			paquete_listo.size = Size;
			// Inmediatamente cambiamos el DMA al buffer B
			buffer_activo_DMA = BUFFER_B;
			HAL_UARTEx_ReceiveToIdle_DMA(&huart2, rx_Buffer_B, rx_buffer_length); // Configura la recepción DMA con IDLE
		}else {
			// Señal de que el Buffer B está listo
			paquete_listo.buffer = rx_Buffer_B;
			paquete_listo.size = Size;
			// Inmediatamente cambiamos el DMA al buffer
			buffer_activo_DMA = BUFFER_A;
			HAL_UARTEx_ReceiveToIdle_DMA(&huart2, rx_Buffer_A, rx_buffer_length); // Configura la recepción DMA con IDLE
		}
		Current_State = STATE_TERMINAL;
		}
}

/* USER CODE END 4 */

void Error_Handler(void)
{
  __disable_irq();
  while (1)
  {
  }
}
